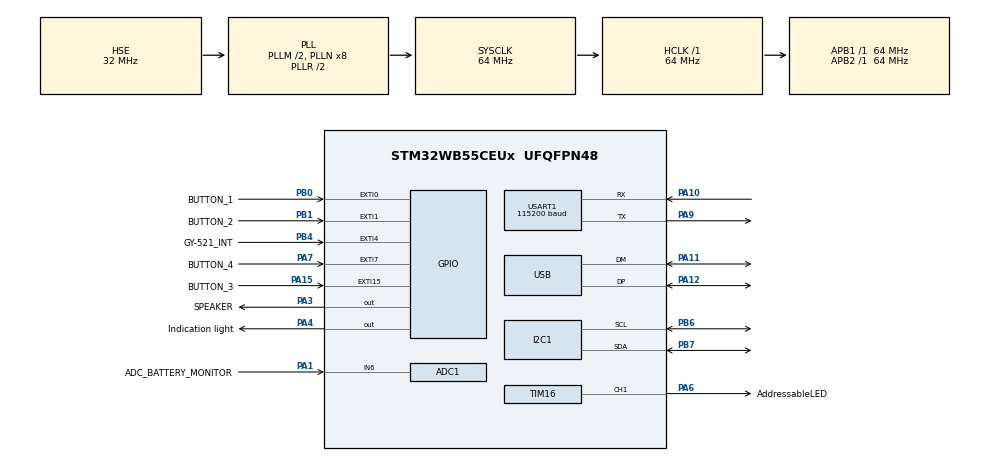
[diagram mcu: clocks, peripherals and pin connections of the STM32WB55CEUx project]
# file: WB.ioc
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ADC1.Channel-3\#ChannelRegularConversion=ADC_CHANNEL_6
ADC1.NbrOfConversionFlag=1
ADC1.OffsetNumber-3\#ChannelRegularConversion=ADC_OFFSET_NONE
ADC1.Rank-3\#ChannelRegularConversion=1
ADC1.SamplingTime-3\#ChannelRegularConversion=ADC_SAMPLETIME_2CYCLES_5
ADC1.master=1
Dma.Request0=TIM16_CH1
Dma.TIM16_CH1.0.Direction=DMA_MEMORY_TO_PERIPH
Dma.TIM16_CH1.0.EventEnable=DISABLE
Dma.TIM16_CH1.0.Instance=DMA1_Channel1
Dma.TIM16_CH1.0.MemDataAlignment=DMA_MDATAALIGN_HALFWORD
Dma.TIM16_CH1.0.MemInc=DMA_MINC_ENABLE
Dma.TIM16_CH1.0.Mode=DMA_NORMAL
Dma.TIM16_CH1.0.PeriphDataAlignment=DMA_PDATAALIGN_HALFWORD
Dma.TIM16_CH1.0.PeriphInc=DMA_PINC_DISABLE
Dma.TIM16_CH1.0.Polarity=HAL_DMAMUX_REQ_GEN_RISING
Dma.TIM16_CH1.0.Priority=DMA_PRIORITY_LOW
Dma.TIM16_CH1.0.RequestNumber=1
Dma.TIM16_CH1.0.SignalID=NONE
Dma.TIM16_CH1.0.SyncEnable=DISABLE
Dma.TIM16_CH1.0.SyncPolarity=HAL_DMAMUX_SYNC_NO_EVENT
Dma.TIM16_CH1.0.SyncRequestNumber=1
Dma.TIM16_CH1.0.SyncSignalID=NONE
I2C1.Timing=0x10B17DB5
LPTIM1.ClockPrescaler=LPTIM_PRESCALER_DIV128
Mcu.Family=STM32WB
Mcu.Name=STM32WB55CEUx
Mcu.Package=UFQFPN48
NVIC.DMA1_Channel1_IRQn=true\:0\:0\:false\:false\:true\:false\:true\:true
NVIC.EXTI0_IRQn=true\:0\:0\:false\:false\:true\:true\:true\:true
NVIC.EXTI15_10_IRQn=true\:0\:0\:false\:false\:true\:true\:true\:true
NVIC.EXTI1_IRQn=true\:0\:0\:false\:false\:true\:true\:true\:true
NVIC.EXTI4_IRQn=true\:0\:0\:false\:false\:true\:true\:true\:true
NVIC.EXTI9_5_IRQn=true\:0\:0\:false\:false\:true\:true\:true\:true
NVIC.HSEM_IRQn=true\:0\:0\:false\:false\:true\:false\:true\:true
NVIC.IPCC_C1_RX_IRQn=true\:0\:0\:false\:false\:true\:true\:true\:true
NVIC.IPCC_C1_TX_IRQn=true\:0\:0\:false\:false\:true\:true\:true\:true
NVIC.PriorityGroup=NVIC_PRIORITYGROUP_4
NVIC.RTC_Alarm_IRQn=true\:0\:0\:false\:false\:true\:true\:true\:true
NVIC.TIM1_UP_TIM16_IRQn=true\:0\:0\:false\:false\:true\:true\:true\:true
OSC_IN.Mode=HSE-External-Oscillator
OSC_IN.Signal=RCC_OSC_IN
OSC_OUT.Mode=HSE-External-Oscillator
OSC_OUT.Signal=RCC_OSC_OUT
PA1.GPIO_Label=ADC_BATTERY_MONITOR
PA1.Signal=ADCx_IN6
PA10.Mode=Asynchronous
PA10.Signal=USART1_RX
PA11.Mode=Device
PA11.Signal=USB_DM
PA12.Mode=Device
PA12.Signal=USB_DP
PA13.Mode=Trace_Asynchronous_SW
PA13.Signal=SYS_JTMS-SWDIO
PA14.Mode=Trace_Asynchronous_SW
PA14.Signal=SYS_JTCK-SWCLK
PA15.GPIO_Label=BUTTON_3
PA15.GPIO_PuPd=GPIO_PULLDOWN
PA15.Signal=GPXTI15
PA3.GPIO_Label=SPEAKER
PA3.Signal=GPIO_Output
PA4.GPIO_Label=Indication light
PA4.Signal=GPIO_Output
PA6.GPIO_Label=AddressableLED
PA6.Signal=S_TIM16_CH1
PA7.GPIO_Label=BUTTON_4
PA7.GPIO_PuPd=GPIO_PULLDOWN
PA7.Signal=GPXTI7
PA9.Mode=Asynchronous
PA9.Signal=USART1_TX
PB0.GPIO_Label=BUTTON_1
PB0.GPIO_PuPd=GPIO_NOPULL
PB0.Signal=GPXTI0
PB1.GPIO_Label=BUTTON_2
PB1.GPIO_PuPd=GPIO_PULLDOWN
PB1.Signal=GPXTI1
PB3.Mode=Trace_Asynchronous_SW
PB3.Signal=SYS_JTDO-SWO
PB4.GPIO_Label=GY-521_INT
PB4.GPIO_PuPd=GPIO_NOPULL
PB4.Signal=GPXTI4
PB6.GPIO_Pu=GPIO_PULLUP
PB6.Mode=I2C
PB6.Signal=I2C1_SCL
PB7.GPIO_Pu=GPIO_PULLUP
PB7.Mode=I2C
PB7.Signal=I2C1_SDA
PC14-OSC32_IN.Mode=LSE-External-Oscillator
PC14-OSC32_IN.Signal=RCC_OSC32_IN
PC15-OSC32_OUT.Mode=LSE-External-Oscillator
PC15-OSC32_OUT.Signal=RCC_OSC32_OUT
ProjectManager.HeapSize=0x200
ProjectManager.StackSize=0x400
ProjectManager.TargetToolchain=CMake
RCC.ADCFreq_Value=48000000
RCC.AHB2CLKDivider=RCC_SYSCLK_DIV2
RCC.AHBFreq_Value=64000000
RCC.APB1Freq_Value=64000000
RCC.APB1TimFreq_Value=64000000
RCC.APB2Freq_Value=64000000
RCC.APB2TimFreq_Value=64000000
RCC.APB3Freq_Value=16000000
RCC.CortexFreq_Value=64000000
RCC.HCLKFreq_Value=64000000
RCC.HSE_VALUE=32000000
RCC.HSI48_VALUE=48000000
RCC.HSI_VALUE=16000000
RCC.LPTIM1CLockSelection=RCC_LPTIM1CLKSOURCE_LSE
RCC.PLLM=RCC_PLLM_DIV2
RCC.PLLSAI1N=6
RCC.PLLSourceVirtual=RCC_PLLSOURCE_HSE
RCC.RTCClockSelection=RCC_RTCCLKSOURCE_LSE
RCC.SYSCLKFreq_VALUE=64000000
RCC.SYSCLKSource=RCC_SYSCLKSOURCE_PLLCLK
RCC.USBFreq_Value=48000000
RCC.VCOOutputFreq_Value=128000000
RF1.Mode=RF1_Activate
RF1.Signal=RF_RF1
RTC.Alarm-Alarm\ A=RTC_ALARM_A
RTC.AlarmMaskSeconds-Alarm\ A=RTC_ALARMMASK_SECONDS
RTC.Hours=0
RTC.Minutes=0
RTC.Seconds=0
RTC.Seconds_A-Alarm\ A=1
SH.ADCx_IN6.0=ADC1_IN6,IN6-Single-Ended
SH.S_TIM16_CH1.0=TIM16_CH1,PWM Generation1 CH1
TIM16.AutoReloadPreload=TIM_AUTORELOAD_PRELOAD_ENABLE
TIM16.Channel=TIM_CHANNEL_1
TIM16.Period=80-1
TIM16.Prescaler=0
TIM16.Pulse=53
TIM16.RepetitionCounter=0
TIM17.Period=24
TIM17.Prescaler=799
USART1.BaudRate=115200
USART1.VirtualMode-Asynchronous=VM_ASYNC
USART1.WordLength=WORDLENGTH_7B
VP_HSEM_VS_HSEM.Mode=HSEM_Activate
VP_IPCC_VS_IPCC.Mode=IPCC_Activate
VP_LPTIM1_VS_LPTIM_counterModeInternalClock.Mode=Counts__internal_clock_event_00
VP_LPTIM2_VS_LPTIM_counterModeInternalClock.Mode=Counts__internal_clock_event_00
VP_MEMORYMAP_VS_MEMORYMAP.Mode=CurAppReg
VP_RTC_VS_RTC_Activate.Mode=RTC_Enabled
VP_RTC_VS_RTC_Alarm_A_Intern.Mode=Alarm A
VP_RTC_VS_RTC_Calendar.Mode=RTC_Calendar
VP_TIM16_VS_ClockSourceINT.Mode=Enable_Timer
VP_TIM17_VS_ClockSourceINT.Mode=Enable_Timer
board=custom

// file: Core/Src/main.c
/* USER CODE BEGIN Header */
/**
  ******************************************************************************
  * @file           : main.c
  * @brief          : Main program body
  ******************************************************************************
  * @attention
  *
  * Copyright (c) 2024 STMicroelectronics.
  * All rights reserved.
  *
  * This software is licensed under terms that can be found in the LICENSE file
  * in the root directory of this software component.
  * If no LICENSE file comes with this software, it is provided AS-IS.
  *
  ******************************************************************************
  */
/* USER CODE END Header */
#include "main.h"

/* USER CODE BEGIN Includes */
#include  <errno.h>
#include  <sys/unistd.h> // STDOUT_FILENO, STDERR_FILENO
//#include "ssd1306.h"
//#include "ssd1306_fonts.h"
#include <stdio.h>

#include "time_manager.h"
#include "lp5812driver.h"
#include "ICM20948Driver.h"
/* USER CODE END Includes */

/* USER CODE BEGIN PD */
#define MODE_IDLE       0
#define MODE_RUNNING    1
#define MODE_INITIALIZE  2
#define MODE_ERROR      3
/* USER CODE END PD */

ADC_HandleTypeDef hadc1;

I2C_HandleTypeDef hi2c1;

IPCC_HandleTypeDef hipcc;

LPTIM_HandleTypeDef hlptim1;
LPTIM_HandleTypeDef hlptim2;

RTC_HandleTypeDef hrtc;

TIM_HandleTypeDef htim16;
TIM_HandleTypeDef htim17;
DMA_HandleTypeDef hdma_tim16_ch1;

UART_HandleTypeDef huart1;

PCD_HandleTypeDef hpcd_USB_FS;

/* USER CODE BEGIN PV */
int count = 0;
icm_20948_data _ICM_data;

uint32_t DestAddress = (uint32_t) &(TIM16->CCR1);
//uint32_t TIM16_Ticks = TIM1CLK / (NS * F_CYCLE);
pixel leds[_numOfLed];  // Define an array with 8 indices
rgb_color rgb = {255,255,255};
char displayStr[20];
uint8_t _currentMode = MODE_INITIALIZE;
/* USER CODE END PV */

void SystemClock_Config(void);
void PeriphCommonClock_Config(void);
static void MX_GPIO_Init(void);
static void MX_DMA_Init(void);
static void MX_I2C1_Init(void);
static void MX_ADC1_Init(void);
static void MX_IPCC_Init(void);
static void MX_RTC_Init(void);
static void MX_TIM16_Init(void);
static void MX_USART1_UART_Init(void);
static void MX_TIM17_Init(void);
static void MX_LPTIM1_Init(void);
static void MX_LPTIM2_Init(void);
static void MX_USB_PCD_Init(void);
static void MX_RF_Init(void);

int main(void)
{

  /* MCU Configuration--------------------------------------------------------*/

  /* Reset of all peripherals, Initializes the Flash interface and the Systick. */
  HAL_Init();

  /* Configure the system clock */
  SystemClock_Config();

  /* Configure the peripherals common clocks */
  PeriphCommonClock_Config();

  /* IPCC initialisation */
  MX_IPCC_Init();

  /* Initialize all configured peripherals */
  MX_GPIO_Init();
  MX_DMA_Init();
  MX_I2C1_Init();
  MX_ADC1_Init();
  MX_RTC_Init();
  MX_TIM16_Init();
  MX_USART1_UART_Init();
  MX_TIM17_Init();
  MX_LPTIM1_Init();
  MX_LPTIM2_Init();
  MX_USB_PCD_Init();
  MX_RF_Init();
  /* USER CODE BEGIN 2 */
//	ssd1306_Init();
//	ssd1306_SetCursor(5,15);
//	ssd1306_Fill(Black);
//	ssd1306_WriteString("Hemlo world",Font_7x10, White);
//	ssd1306_UpdateScreen();
//  HAL_TIM_PWM_Start(&htim16, TIM_CHANNEL_1); // Start PWM on channel 1, ah we don't even have concise control yet.
//
  // HAL_Delay(100);
  // resetAllLed(leds);
  // LP5812_Init_Manual();

  //initializeAuto
  LP5812_Init_Autonomous();
  AEU_SET_AllWhite();
  HAL_StatusTypeDef status;
    status = LP5812_WriteRegister(Update_CMD_REG,Update_CMD_Value);
  if (status != HAL_OK) {
    // Handle error
  }
  status = LP5812_WriteRegister(Start_CMD_REG,Start_CMD_Value);
  if (status != HAL_OK) {
    // Handle error
}

  ICM20948_Init();

  LP5812_DetectFault();

  LP5812_ClearFaults();

  LP5812_DetectFault();
  HAL_GPIO_WritePin(GPIOA, Indication_light_Pin, GPIO_PIN_RESET);

  /*Attempt at assigning this very long variable list
	 *
	 *
    timeManager._alarmTime = *alarmTime; // wwhat is this variable.a

    timeManager._setTime = setTime;          // Set the initial set time
    timeManager._timerMode = timerMode;            // Set the initial mode
	 * */

//  if (HAL_TIM_PWM_Start_IT(&htim16, TIM_CHANNEL_1, (uint32_t *)leds,_numOfWLedBits) != HAL_OK)
//  {
//      Error_Handler();
//  }
//  HAL_TIM_PWM_Start_DMA(&htim16, TIM_CHANNEL_1, (uint32_t *)leds, _numOfWLedBits);
//
	RTC_initialize(1,MODE_INITIALIZE);

//	setAllLed(leds,rgb,1);

	//HAL_TIM_PWM_Start(&htim16, TIM_CHANNEL_1);

	/*Defining variables
	 *
	 *
	 * */
// Configure LED0 (A0)

//    }
	 // Make sure the buffer is large enough

	RTC_TimeTypeDef sTime = {0};

  /* USER CODE END 2 */

  /* Infinite loop */
	while (1)
	{

    /* USER CODE BEGIN 3 */
  // fadeAlternatingColours_manual();

    /*RTC STUFF
	_currentMode = getMode();
	RTC_TimeTypeDef currentTime = update();
	*/

    // HAL_Delay(500);

    ICM20948_ReadAccel(&_ICM_data);
    ICM20948_ReadGyro(&_ICM_data);
    // int i = 0;
//    count++;
//	data = 0xff; //test logic analyzer
//	HAL_I2C_Master_Transmit(&hi2c1, (LP5812_I2C_ADDRESS << 1), &data, 1, 100);
//		// Format the current time into displayStr
//		sprintf(displayStr, "%02d:%02d:%02d", currentTime.Hours, currentTime.Minutes, currentTime.Seconds);
//		sprintf(displayStr,"mode: %d",_currentMode);
//		ssd1306_SetCursor(5,15);
//		ssd1306_Fill(Black);
//		ssd1306_WriteString(displayStr,Font_7x10, White);
//		ssd1306_UpdateScreen();

        // Add a delay to see the toggling effect
	    // Start DMA transfer and wait for completion
//		HAL_TIM_PWM_Start(&htim16, TIM_CHANNEL_1);
//	    resetAllLed(leds);
//	    static int currLed = 0;
//	    currLed  = (currLed + 1)%8;
//	    setSinglePixels(leds,rgb,currLed);
//        HAL_Delay(500); // 500 ms delay

	}
  /* USER CODE END 3 */
}

void SystemClock_Config(void)
{
  RCC_OscInitTypeDef RCC_OscInitStruct = {0};
  RCC_ClkInitTypeDef RCC_ClkInitStruct = {0};

  /** Configure LSE Drive Capability
  */
  HAL_PWR_EnableBkUpAccess();
  __HAL_RCC_LSEDRIVE_CONFIG(RCC_LSEDRIVE_MEDIUMHIGH);

  /** Configure the main internal regulator output voltage
  */
  __HAL_PWR_VOLTAGESCALING_CONFIG(PWR_REGULATOR_VOLTAGE_SCALE1);

  /** Initializes the RCC Oscillators according to the specified parameters
  * in the RCC_OscInitTypeDef structure.
  */
  RCC_OscInitStruct.OscillatorType = RCC_OSCILLATORTYPE_HSI|RCC_OSCILLATORTYPE_HSE
                              |RCC_OSCILLATORTYPE_LSE;
  RCC_OscInitStruct.HSEState = RCC_HSE_ON;
  RCC_OscInitStruct.LSEState = RCC_LSE_ON;
  RCC_OscInitStruct.HSIState = RCC_HSI_ON;
  RCC_OscInitStruct.HSICalibrationValue = RCC_HSICALIBRATION_DEFAULT;
  RCC_OscInitStruct.PLL.PLLState = RCC_PLL_ON;
  RCC_OscInitStruct.PLL.PLLSource = RCC_PLLSOURCE_HSE;
  RCC_OscInitStruct.PLL.PLLM = RCC_PLLM_DIV2;
  RCC_OscInitStruct.PLL.PLLN = 8;
  RCC_OscInitStruct.PLL.PLLP = RCC_PLLP_DIV2;
  RCC_OscInitStruct.PLL.PLLR = RCC_PLLR_DIV2;
  RCC_OscInitStruct.PLL.PLLQ = RCC_PLLQ_DIV2;
  if (HAL_RCC_OscConfig(&RCC_OscInitStruct) != HAL_OK)
  {
    Error_Handler();
  }

  /** Configure the SYSCLKSource, HCLK, PCLK1 and PCLK2 clocks dividers
  */
  RCC_ClkInitStruct.ClockType = RCC_CLOCKTYPE_HCLK4|RCC_CLOCKTYPE_HCLK2
                              |RCC_CLOCKTYPE_HCLK|RCC_CLOCKTYPE_SYSCLK
                              |RCC_CLOCKTYPE_PCLK1|RCC_CLOCKTYPE_PCLK2;
  RCC_ClkInitStruct.SYSCLKSource = RCC_SYSCLKSOURCE_PLLCLK;
  RCC_ClkInitStruct.AHBCLKDivider = RCC_SYSCLK_DIV1;
  RCC_ClkInitStruct.APB1CLKDivider = RCC_HCLK_DIV1;
  RCC_ClkInitStruct.APB2CLKDivider = RCC_HCLK_DIV1;
  RCC_ClkInitStruct.AHBCLK2Divider = RCC_SYSCLK_DIV2;
  RCC_ClkInitStruct.AHBCLK4Divider = RCC_SYSCLK_DIV1;

  if (HAL_RCC_ClockConfig(&RCC_ClkInitStruct, FLASH_LATENCY_3) != HAL_OK)
  {
    Error_Handler();
  }
}

void PeriphCommonClock_Config(void)
{
  RCC_PeriphCLKInitTypeDef PeriphClkInitStruct = {0};

  /** Initializes the peripherals clock
  */
  PeriphClkInitStruct.PeriphClockSelection = RCC_PERIPHCLK_SMPS|RCC_PERIPHCLK_RFWAKEUP
                              |RCC_PERIPHCLK_USB|RCC_PERIPHCLK_ADC;
  PeriphClkInitStruct.PLLSAI1.PLLN = 6;
  PeriphClkInitStruct.PLLSAI1.PLLP = RCC_PLLP_DIV2;
  PeriphClkInitStruct.PLLSAI1.PLLQ = RCC_PLLQ_DIV2;
  PeriphClkInitStruct.PLLSAI1.PLLR = RCC_PLLR_DIV2;
  PeriphClkInitStruct.PLLSAI1.PLLSAI1ClockOut = RCC_PLLSAI1_USBCLK|RCC_PLLSAI1_ADCCLK;
  PeriphClkInitStruct.UsbClockSelection = RCC_USBCLKSOURCE_PLLSAI1;
  PeriphClkInitStruct.AdcClockSelection = RCC_ADCCLKSOURCE_PLLSAI1;
  PeriphClkInitStruct.RFWakeUpClockSelection = RCC_RFWKPCLKSOURCE_HSE_DIV1024;
  PeriphClkInitStruct.SmpsClockSelection = RCC_SMPSCLKSOURCE_HSI;
  PeriphClkInitStruct.SmpsDivSelection = RCC_SMPSCLKDIV_RANGE1;

  if (HAL_RCCEx_PeriphCLKConfig(&PeriphClkInitStruct) != HAL_OK)
  {
    Error_Handler();
  }
}

static void MX_ADC1_Init(void)
{

  ADC_ChannelConfTypeDef sConfig = {0};

  /** Common config
  */
  hadc1.Instance = ADC1;
  hadc1.Init.ClockPrescaler = ADC_CLOCK_ASYNC_DIV1;
  hadc1.Init.Resolution = ADC_RESOLUTION_12B;
  hadc1.Init.DataAlign = ADC_DATAALIGN_RIGHT;
  hadc1.Init.ScanConvMode = ADC_SCAN_DISABLE;
  hadc1.Init.EOCSelection = ADC_EOC_SINGLE_CONV;
  hadc1.Init.LowPowerAutoWait = DISABLE;
  hadc1.Init.ContinuousConvMode = DISABLE;
  hadc1.Init.NbrOfConversion = 1;
  hadc1.Init.DiscontinuousConvMode = DISABLE;
  hadc1.Init.ExternalTrigConv = ADC_SOFTWARE_START;
  hadc1.Init.ExternalTrigConvEdge = ADC_EXTERNALTRIGCONVEDGE_NONE;
  hadc1.Init.DMAContinuousRequests = DISABLE;
  hadc1.Init.Overrun = ADC_OVR_DATA_PRESERVED;
  hadc1.Init.OversamplingMode = DISABLE;
  if (HAL_ADC_Init(&hadc1) != HAL_OK)
  {
    Error_Handler();
  }

  /** Configure Regular Channel
  */
  sConfig.Channel = ADC_CHANNEL_6;
  sConfig.Rank = ADC_REGULAR_RANK_1;
  sConfig.SamplingTime = ADC_SAMPLETIME_2CYCLES_5;
  sConfig.SingleDiff = ADC_SINGLE_ENDED;
  sConfig.OffsetNumber = ADC_OFFSET_NONE;
  sConfig.Offset = 0;
  if (HAL_ADC_ConfigChannel(&hadc1, &sConfig) != HAL_OK)
  {
    Error_Handler();
  }

}

static void MX_I2C1_Init(void)
{

  hi2c1.Instance = I2C1;
  hi2c1.Init.Timing = 0x10B17DB5;
  hi2c1.Init.OwnAddress1 = 0;
  hi2c1.Init.AddressingMode = I2C_ADDRESSINGMODE_7BIT;
  hi2c1.Init.DualAddressMode = I2C_DUALADDRESS_DISABLE;
  hi2c1.Init.OwnAddress2 = 0;
  hi2c1.Init.OwnAddress2Masks = I2C_OA2_NOMASK;
  hi2c1.Init.GeneralCallMode = I2C_GENERALCALL_DISABLE;
  hi2c1.Init.NoStretchMode = I2C_NOSTRETCH_DISABLE;
  if (HAL_I2C_Init(&hi2c1) != HAL_OK)
  {
    Error_Handler();
  }

  /** Configure Analogue filter
  */
  if (HAL_I2CEx_ConfigAnalogFilter(&hi2c1, I2C_ANALOGFILTER_ENABLE) != HAL_OK)
  {
    Error_Handler();
  }

  /** Configure Digital filter
  */
  if (HAL_I2CEx_ConfigDigitalFilter(&hi2c1, 0) != HAL_OK)
  {
    Error_Handler();
  }

}

static void MX_IPCC_Init(void)
{

  hipcc.Instance = IPCC;
  if (HAL_IPCC_Init(&hipcc) != HAL_OK)
  {
    Error_Handler();
  }

}

static void MX_LPTIM1_Init(void)
{

  hlptim1.Instance = LPTIM1;
  hlptim1.Init.Clock.Source = LPTIM_CLOCKSOURCE_APBCLOCK_LPOSC;
  hlptim1.Init.Clock.Prescaler = LPTIM_PRESCALER_DIV128;
  hlptim1.Init.Trigger.Source = LPTIM_TRIGSOURCE_SOFTWARE;
  hlptim1.Init.OutputPolarity = LPTIM_OUTPUTPOLARITY_HIGH;
  hlptim1.Init.UpdateMode = LPTIM_UPDATE_IMMEDIATE;
  hlptim1.Init.CounterSource = LPTIM_COUNTERSOURCE_INTERNAL;
  hlptim1.Init.Input1Source = LPTIM_INPUT1SOURCE_GPIO;
  hlptim1.Init.Input2Source = LPTIM_INPUT2SOURCE_GPIO;
  if (HAL_LPTIM_Init(&hlptim1) != HAL_OK)
  {
    Error_Handler();
  }

}

static void MX_LPTIM2_Init(void)
{

  hlptim2.Instance = LPTIM2;
  hlptim2.Init.Clock.Source = LPTIM_CLOCKSOURCE_APBCLOCK_LPOSC;
  hlptim2.Init.Clock.Prescaler = LPTIM_PRESCALER_DIV1;
  hlptim2.Init.Trigger.Source = LPTIM_TRIGSOURCE_SOFTWARE;
  hlptim2.Init.OutputPolarity = LPTIM_OUTPUTPOLARITY_HIGH;
  hlptim2.Init.UpdateMode = LPTIM_UPDATE_IMMEDIATE;
  hlptim2.Init.CounterSource = LPTIM_COUNTERSOURCE_INTERNAL;
  hlptim2.Init.Input1Source = LPTIM_INPUT1SOURCE_GPIO;
  hlptim2.Init.Input2Source = LPTIM_INPUT2SOURCE_GPIO;
  if (HAL_LPTIM_Init(&hlptim2) != HAL_OK)
  {
    Error_Handler();
  }

}

static void MX_RF_Init(void)
{

}

static void MX_RTC_Init(void)
{

  RTC_TimeTypeDef sTime = {0};
  RTC_DateTypeDef sDate = {0};
  RTC_AlarmTypeDef sAlarm = {0};

  /** Initialize RTC Only
  */
  hrtc.Instance = RTC;
  hrtc.Init.HourFormat = RTC_HOURFORMAT_24;
  hrtc.Init.AsynchPrediv = 127;
  hrtc.Init.SynchPrediv = 255;
  hrtc.Init.OutPut = RTC_OUTPUT_DISABLE;
  hrtc.Init.OutPutPolarity = RTC_OUTPUT_POLARITY_HIGH;
  hrtc.Init.OutPutType = RTC_OUTPUT_TYPE_OPENDRAIN;
  hrtc.Init.OutPutRemap = RTC_OUTPUT_REMAP_NONE;
  if (HAL_RTC_Init(&hrtc) != HAL_OK)
  {
    Error_Handler();
  }

  /** Initialize RTC and set the Time and Date
  */
  sTime.Hours = 0x0;
  sTime.Minutes = 0x0;
  sTime.Seconds = 0x0;
  sTime.SubSeconds = 0x0;
  sTime.DayLightSaving = RTC_DAYLIGHTSAVING_NONE;
  sTime.StoreOperation = RTC_STOREOPERATION_RESET;
  if (HAL_RTC_SetTime(&hrtc, &sTime, RTC_FORMAT_BCD) != HAL_OK)
  {
    Error_Handler();
  }
  sDate.WeekDay = RTC_WEEKDAY_MONDAY;
  sDate.Month = RTC_MONTH_JANUARY;
  sDate.Date = 0x1;
  sDate.Year = 0x0;
  if (HAL_RTC_SetDate(&hrtc, &sDate, RTC_FORMAT_BCD) != HAL_OK)
  {
    Error_Handler();
  }

  /** Enable the Alarm A
  */
  sAlarm.AlarmTime.Hours = 0x0;
  sAlarm.AlarmTime.Minutes = 0x0;
  sAlarm.AlarmTime.Seconds = 0x1;
  sAlarm.AlarmTime.SubSeconds = 0x0;
  sAlarm.AlarmTime.DayLightSaving = RTC_DAYLIGHTSAVING_NONE;
  sAlarm.AlarmTime.StoreOperation = RTC_STOREOPERATION_RESET;
  sAlarm.AlarmMask = RTC_ALARMMASK_SECONDS;
  sAlarm.AlarmSubSecondMask = RTC_ALARMSUBSECONDMASK_ALL;
  sAlarm.AlarmDateWeekDaySel = RTC_ALARMDATEWEEKDAYSEL_DATE;
  sAlarm.AlarmDateWeekDay = 0x1;
  sAlarm.Alarm = RTC_ALARM_A;
  if (HAL_RTC_SetAlarm_IT(&hrtc, &sAlarm, RTC_FORMAT_BCD) != HAL_OK)
  {
    Error_Handler();
  }

}

static void MX_TIM16_Init(void)
{

  TIM_OC_InitTypeDef sConfigOC = {0};
  TIM_BreakDeadTimeConfigTypeDef sBreakDeadTimeConfig = {0};

  htim16.Instance = TIM16;
  htim16.Init.Prescaler = 0;
  htim16.Init.CounterMode = TIM_COUNTERMODE_UP;
  htim16.Init.Period = 80-1;
  htim16.Init.ClockDivision = TIM_CLOCKDIVISION_DIV1;
  htim16.Init.RepetitionCounter = 0;
  htim16.Init.AutoReloadPreload = TIM_AUTORELOAD_PRELOAD_ENABLE;
  if (HAL_TIM_Base_Init(&htim16) != HAL_OK)
  {
    Error_Handler();
  }
  if (HAL_TIM_PWM_Init(&htim16) != HAL_OK)
  {
    Error_Handler();
  }
  sConfigOC.OCMode = TIM_OCMODE_PWM1;
  sConfigOC.Pulse = 53;
  sConfigOC.OCPolarity = TIM_OCPOLARITY_HIGH;
  sConfigOC.OCNPolarity = TIM_OCNPOLARITY_HIGH;
  sConfigOC.OCFastMode = TIM_OCFAST_DISABLE;
  sConfigOC.OCIdleState = TIM_OCIDLESTATE_RESET;
  sConfigOC.OCNIdleState = TIM_OCNIDLESTATE_RESET;
  if (HAL_TIM_PWM_ConfigChannel(&htim16, &sConfigOC, TIM_CHANNEL_1) != HAL_OK)
  {
    Error_Handler();
  }
  sBreakDeadTimeConfig.OffStateRunMode = TIM_OSSR_DISABLE;
  sBreakDeadTimeConfig.OffStateIDLEMode = TIM_OSSI_DISABLE;
  sBreakDeadTimeConfig.LockLevel = TIM_LOCKLEVEL_OFF;
  sBreakDeadTimeConfig.DeadTime = 0;
  sBreakDeadTimeConfig.BreakState = TIM_BREAK_DISABLE;
  sBreakDeadTimeConfig.BreakPolarity = TIM_BREAKPOLARITY_HIGH;
  sBreakDeadTimeConfig.BreakFilter = 0;
  sBreakDeadTimeConfig.AutomaticOutput = TIM_AUTOMATICOUTPUT_DISABLE;
  if (HAL_TIMEx_ConfigBreakDeadTime(&htim16, &sBreakDeadTimeConfig) != HAL_OK)
  {
    Error_Handler();
  }
  HAL_TIM_MspPostInit(&htim16);

}

static void MX_TIM17_Init(void)
{

  htim17.Instance = TIM17;
  htim17.Init.Prescaler = 799;
  htim17.Init.CounterMode = TIM_COUNTERMODE_UP;
  htim17.Init.Period = 24;
  htim17.Init.ClockDivision = TIM_CLOCKDIVISION_DIV1;
  htim17.Init.RepetitionCounter = 0;
  htim17.Init.AutoReloadPreload = TIM_AUTORELOAD_PRELOAD_DISABLE;
  if (HAL_TIM_Base_Init(&htim17) != HAL_OK)
  {
    Error_Handler();
  }

}

static void MX_USART1_UART_Init(void)
{

  huart1.Instance = USART1;
  huart1.Init.BaudRate = 115200;
  huart1.Init.WordLength = UART_WORDLENGTH_7B;
  huart1.Init.StopBits = UART_STOPBITS_1;
  huart1.Init.Parity = UART_PARITY_NONE;
  huart1.Init.Mode = UART_MODE_TX_RX;
  huart1.Init.HwFlowCtl = UART_HWCONTROL_NONE;
  huart1.Init.OverSampling = UART_OVERSAMPLING_16;
  huart1.Init.OneBitSampling = UART_ONE_BIT_SAMPLE_DISABLE;
  huart1.Init.ClockPrescaler = UART_PRESCALER_DIV1;
  huart1.AdvancedInit.AdvFeatureInit = UART_ADVFEATURE_NO_INIT;
  if (HAL_UART_Init(&huart1) != HAL_OK)
  {
    Error_Handler();
  }
  if (HAL_UARTEx_SetTxFifoThreshold(&huart1, UART_TXFIFO_THRESHOLD_1_8) != HAL_OK)
  {
    Error_Handler();
  }
  if (HAL_UARTEx_SetRxFifoThreshold(&huart1, UART_RXFIFO_THRESHOLD_1_8) != HAL_OK)
  {
    Error_Handler();
  }
  if (HAL_UARTEx_DisableFifoMode(&huart1) != HAL_OK)
  {
    Error_Handler();
  }

}

static void MX_USB_PCD_Init(void)
{

  hpcd_USB_FS.Instance = USB;
  hpcd_USB_FS.Init.dev_endpoints = 8;
  hpcd_USB_FS.Init.speed = PCD_SPEED_FULL;
  hpcd_USB_FS.Init.phy_itface = PCD_PHY_EMBEDDED;
  hpcd_USB_FS.Init.Sof_enable = DISABLE;
  hpcd_USB_FS.Init.low_power_enable = DISABLE;
  hpcd_USB_FS.Init.lpm_enable = DISABLE;
  hpcd_USB_FS.Init.battery_charging_enable = DISABLE;
  if (HAL_PCD_Init(&hpcd_USB_FS) != HAL_OK)
  {
    Error_Handler();
  }

}

static void MX_DMA_Init(void)
{

  /* DMA controller clock enable */
  __HAL_RCC_DMAMUX1_CLK_ENABLE();
  __HAL_RCC_DMA1_CLK_ENABLE();

  /* DMA interrupt init */
  /* DMA1_Channel1_IRQn interrupt configuration */
  HAL_NVIC_SetPriority(DMA1_Channel1_IRQn, 0, 0);
  HAL_NVIC_EnableIRQ(DMA1_Channel1_IRQn);

}

static void MX_GPIO_Init(void)
{
  GPIO_InitTypeDef GPIO_InitStruct = {0};

  /* GPIO Ports Clock Enable */
  __HAL_RCC_GPIOC_CLK_ENABLE();
  __HAL_RCC_GPIOA_CLK_ENABLE();
  __HAL_RCC_GPIOB_CLK_ENABLE();

  /*Configure GPIO pin Output Level */
  HAL_GPIO_WritePin(GPIOA, SPEAKER_Pin|Indication_light_Pin, GPIO_PIN_RESET);

  /*Configure GPIO pins : SPEAKER_Pin Indication_light_Pin */
  GPIO_InitStruct.Pin = SPEAKER_Pin|Indication_light_Pin;
  GPIO_InitStruct.Mode = GPIO_MODE_OUTPUT_PP;
  GPIO_InitStruct.Pull = GPIO_NOPULL;
  GPIO_InitStruct.Speed = GPIO_SPEED_FREQ_LOW;
  HAL_GPIO_Init(GPIOA, &GPIO_InitStruct);

  /*Configure GPIO pins : BUTTON_4_Pin BUTTON_3_Pin */
  GPIO_InitStruct.Pin = BUTTON_4_Pin|BUTTON_3_Pin;
  GPIO_InitStruct.Mode = GPIO_MODE_IT_RISING;
  GPIO_InitStruct.Pull = GPIO_PULLDOWN;
  HAL_GPIO_Init(GPIOA, &GPIO_InitStruct);

  /*Configure GPIO pins : BUTTON_1_Pin GY_521_INT_Pin */
  GPIO_InitStruct.Pin = BUTTON_1_Pin|GY_521_INT_Pin;
  GPIO_InitStruct.Mode = GPIO_MODE_IT_RISING;
  GPIO_InitStruct.Pull = GPIO_NOPULL;
  HAL_GPIO_Init(GPIOB, &GPIO_InitStruct);

  /*Configure GPIO pin : BUTTON_2_Pin */
  GPIO_InitStruct.Pin = BUTTON_2_Pin;
  GPIO_InitStruct.Mode = GPIO_MODE_IT_RISING;
  GPIO_InitStruct.Pull = GPIO_PULLDOWN;
  HAL_GPIO_Init(BUTTON_2_GPIO_Port, &GPIO_InitStruct);

  /* EXTI interrupt init*/
  HAL_NVIC_SetPriority(EXTI0_IRQn, 0, 0);
  HAL_NVIC_EnableIRQ(EXTI0_IRQn);

  HAL_NVIC_SetPriority(EXTI1_IRQn, 0, 0);
  HAL_NVIC_EnableIRQ(EXTI1_IRQn);

  HAL_NVIC_SetPriority(EXTI4_IRQn, 0, 0);
  HAL_NVIC_EnableIRQ(EXTI4_IRQn);

  HAL_NVIC_SetPriority(EXTI9_5_IRQn, 0, 0);
  HAL_NVIC_EnableIRQ(EXTI9_5_IRQn);

  HAL_NVIC_SetPriority(EXTI15_10_IRQn, 0, 0);
  HAL_NVIC_EnableIRQ(EXTI15_10_IRQn);

}

/* USER CODE BEGIN 4 */

void HAL_TIM_PWM_PulseFinishedCallback(TIM_HandleTypeDef *htim){

	//HAL_TIM_PWM_Stop(&htim1,TIM_CHANNEL_1);
}
/*What are the needed variables?
 *
 * MODE
 * ELAPSED TIME <- I believe this will be calculated? Yee? Naw man Naw use the RTC
 * DESIRED TIME
 *
 * */

void HAL_GPIO_EXTI_Callback(uint16_t GPIO_Pin){
	//Start/stop button
	if(GPIO_Pin == BUTTON_1_Pin){

		//if (HAL_GPIO_ReadPin(GPIOB, GPIO_PIN_0) == GPIO_PIN_SET) {
//		HAL_GPIO_TogglePin(Indication_light_GPIO_Port, Indication_light_Pin);
//		HAL_GPIO_WritePin(Indication_light_GPIO_Port, Indication_light_Pin,GPIO_PIN_SET);
		//}
		__HAL_GPIO_EXTI_CLEAR_IT(GPIO_PIN_0);
		startstop();

	//Increment minutes button
	}else if(GPIO_Pin == BUTTON_2_Pin){
		/*PA6 - addressable LED Timer 16 CH1*/

		setAllLed(leds,rgb,1);
        if (HAL_TIM_PWM_Start_DMA(&htim16, TIM_CHANNEL_1, (uint32_t *)leds,_numOfWLedBits) != HAL_OK)
        {
            Error_Handler();
        }
    //Increment seconds button
	}else if(GPIO_Pin == BUTTON_3_Pin){
		resetAllLed(leds);
        if (HAL_TIM_PWM_Start_DMA(&htim16, TIM_CHANNEL_1, (uint32_t *)leds,_numOfWLedBits) != HAL_OK)
        {
            Error_Handler();
        }
    //Debug button
	}else if(GPIO_Pin == BUTTON_4_Pin){//increments LED.
		static int _currLedNum = 0;
		//resetAllLed(leds);
		setSinglePixels(leds,rgb,_currLedNum);
		_currLedNum = (_currLedNum + 1)%_numOfLed;
        if (HAL_TIM_PWM_Start_DMA(&htim16, TIM_CHANNEL_1, (uint32_t *)leds,_numOfWLedBits) != HAL_OK)
        {
            Error_Handler();
        }
	}else{
		HAL_GPIO_WritePin(Indication_light_GPIO_Port, Indication_light_Pin,GPIO_PIN_RESET);

	}
}

void HAL_RTC_AlarmAEventCallback(RTC_HandleTypeDef *hrtc) {
//	HAL_GPIO_TogglePin(Indication_light_GPIO_Port, Indication_light_Pin);

//Here we actually focus on the LED driver.
	HAL_Delay(500); // 500 ms delay
	RTC_AlarmTypeDef sAlarm;
	HAL_RTC_GetAlarm(hrtc,&sAlarm,RTC_ALARM_A,FORMAT_BIN);
	if(sAlarm.AlarmTime.Seconds>58) {
		sAlarm.AlarmTime.Seconds=0;
	}else{
		sAlarm.AlarmTime.Seconds=sAlarm.AlarmTime.Seconds+1;
	}
   while(HAL_RTC_SetAlarm_IT(hrtc, &sAlarm, FORMAT_BIN)!=HAL_OK){}
    HAL_GPIO_TogglePin(Indication_light_GPIO_Port, Indication_light_Pin);
}
/* USER CODE END 4 */

void Error_Handler(void)
{
  __disable_irq();
  while (1)
  {
  }
}
